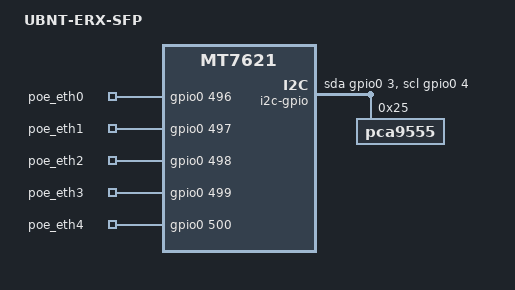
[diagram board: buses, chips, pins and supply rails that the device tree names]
/dts-v1/;

#include "UBNT-ER-e50.dtsi"

#include <dt-bindings/gpio/gpio.h>

/ {
	model = "UBNT-ERX-SFP";
	compatible = "ubiquiti,edgerouterx-sfp", "mediatek,mt7621-soc";

	i2c-gpio {
		compatible = "i2c-gpio";
		gpios = <&gpio0 3 GPIO_ACTIVE_HIGH /* sda */
		         &gpio0 4 GPIO_ACTIVE_HIGH /* scl */
		        >;
		#address-cells = <1>;
		#size-cells = <0>;

		pca9555@25 {
			compatible = "pca9555";
			reg = <0x25>;
		};
	};

	gpio_export {
		compatible = "gpio-export";
		#size-cells = <0>;

		poe_eth0 {
			gpio-export,name = "poe_eth0";
			gpio-export,output = <0>;
			gpios = <&gpio0 496 GPIO_ACTIVE_HIGH>;
		};

		poe_eth1 {
			gpio-export,name = "poe_eth1";
			gpio-export,output = <1>;
			gpios = <&gpio0 497 GPIO_ACTIVE_HIGH>;
		};

		poe_eth2 {
			gpio-export,name = "poe_eth2";
			gpio-export,output = <1>;
			gpios = <&gpio0 498 GPIO_ACTIVE_HIGH>;
		};

		poe_eth3 {
			gpio-export,name = "poe_eth3";
			gpio-export,output = <1>;
			gpios = <&gpio0 499 GPIO_ACTIVE_HIGH>;
		};

		poe_eth4 {
			gpio-export,name = "poe_eth4";
			gpio-export,output = <1>;
			gpios = <&gpio0 500 GPIO_ACTIVE_HIGH>;
		};
	};
};
